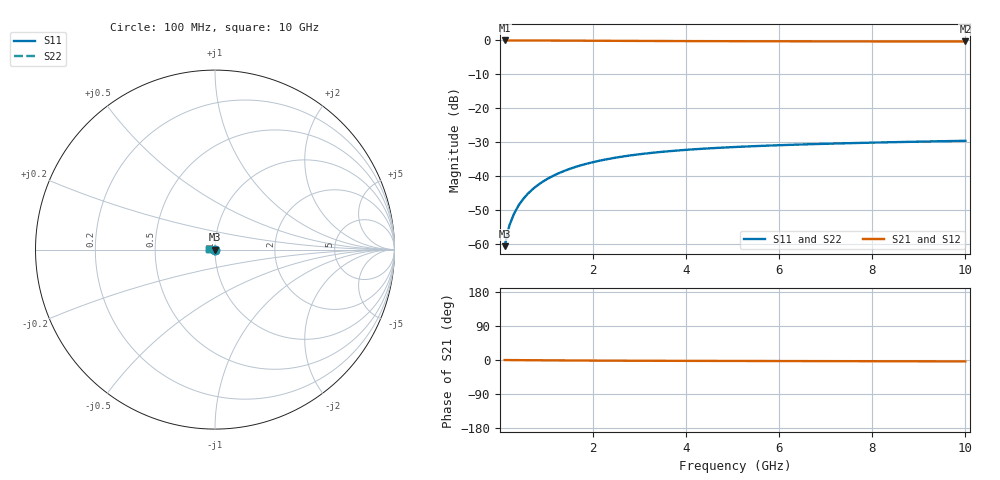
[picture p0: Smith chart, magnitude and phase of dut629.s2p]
! Touchstone file exported from HFSS 2024.1.0
!  File:  C:/UserFiles/LocalFiles/RDL_TSV_Batchsim/temp_TSV1_629_1779789896.aedt
!  Generated:  06:10:30 PM May 26, 2026
!  Design:  TSV1
!  Project:  temp_TSV1_629_1779789896
!  Setup:  Setup1
!  Solution:  Sweep
! Variables:
!  dtsv = 11.75um
!  hbump = 3um
!  htsv = 53.59um
!  lrdl = 252.1521522um
!  p = 40
!  p1 = 54.54um
!  t = 500um
!  trdl = 3um
!  wrdl = 24.89489489um
# GHz S MA R 50.000000
! Terminal data exported
! Port[1] = TSV22_T1
! Port[2] = TSV22_T2
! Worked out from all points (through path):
!   100 points, 100 MHz to 10 GHz, reference 50 ohm
!   highest |S21| = 0.00 dB at 100 MHz (marker M1); lowest = -0.3 dB at 10 GHz (marker M2)
!   lowest |S11| = -60.6 dB at 100 MHz (marker M3), VSWR 1.00, Z = 50 - j0.0928 ohm
!   |S11| at or under -10 dB: start of sweep to end of sweep
!   |S22| runs from -60.6 to -29.6 dB; largest |S21 - S12| = 5.3e-15
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0.1  0.0009296 -86.9  0.9999 -0.1  0.9999 -0.1  0.0009296 -86.9
! Gamma 0 0 0 0
! Port Impedance 50 0 50 0
0.2  0.001855 -91.2  0.9998 -0.2  0.9998 -0.2  0.001855 -91.2
0.3  0.002779 -93.9  0.9996 -0.3  0.9996 -0.3  0.002779 -93.9
0.4  0.0037 -96.2  0.9994 -0.4  0.9994 -0.4  0.0037 -96.2
0.5  0.004613 -98.4  0.9991 -0.5  0.9991 -0.5  0.004613 -98.4
0.6  0.005514 -100.5  0.9987 -0.5  0.9987 -0.5  0.005514 -100.5
0.7  0.006402 -102.5  0.9983 -0.6  0.9983 -0.6  0.006402 -102.5
0.8  0.007274 -104.5  0.9979 -0.7  0.9979 -0.7  0.007274 -104.5
0.9  0.008128 -106.4  0.9974 -0.8  0.9974 -0.8  0.008128 -106.4
1.1  0.009777 -110.2  0.9963 -1.0  0.9963 -1.0  0.009777 -110.2
1.4  0.01209 -115.5  0.9945 -1.2  0.9945 -1.2  0.01209 -115.5
1.6  0.01351 -118.9  0.9932 -1.3  0.9932 -1.3  0.01351 -118.9
1.8  0.01485 -122.1  0.9918 -1.4  0.9918 -1.4  0.01485 -122.1
2.1  0.01667 -126.6  0.9898 -1.6  0.9898 -1.6  0.01667 -126.6
2.5  0.01881 -132.2  0.9871 -1.8  0.9871 -1.8  0.01881 -132.2
2.9  0.02063 -137.2  0.9845 -1.9  0.9845 -1.9  0.02063 -137.2
3.4  0.02254 -142.9  0.9817 -2.1  0.9817 -2.1  0.02254 -142.9
4.2  0.02495 -150.6  0.9779 -2.3  0.9779 -2.3  0.02495 -150.6
5.1  0.027 -158.0  0.9745 -2.6  0.9745 -2.6  0.027 -158.0
6.7  0.02961 -168.4  0.9702 -2.9  0.9702 -2.9  0.02961 -168.4
8.4  0.03164 -177.3  0.9673 -3.3  0.9673 -3.3  0.03164 -177.3
10  0.03322 175.7  0.9655 -3.7  0.9655 -3.7  0.03322 175.7
